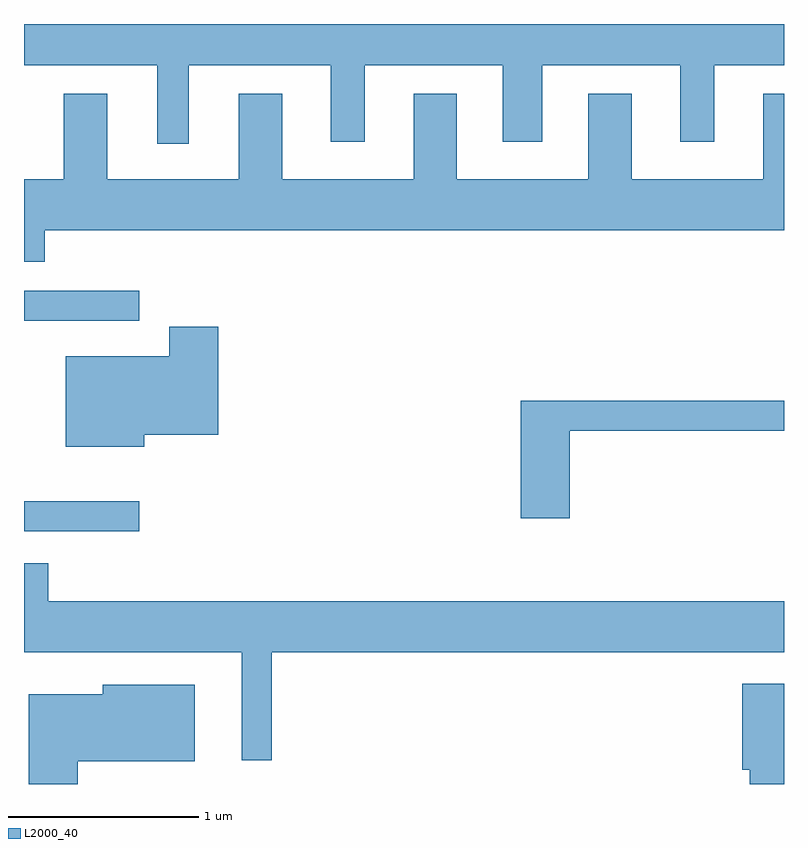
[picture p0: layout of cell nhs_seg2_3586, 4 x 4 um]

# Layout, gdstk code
import gdstk
lib = gdstk.Library(unit=1e-6, precision=1e-09)
def R(c, l, rs):  # rectangles x0, y0, x1, y1
    for r in rs: c.add(gdstk.rectangle(r[:2], r[2:], *l))
def P(c, l, *ps):  # polygons
    for p in ps: c.add(gdstk.Polygon(p, *l))
L2000_40 = (2000, 40)

nhs_seg2_3586 = lib.new_cell('nhs_seg2_3586')
R(nhs_seg2_3586, L2000_40, [(289.611,1091.131,290.218,1091.289), (289.611,1092.241,290.218,1092.399)])
P(nhs_seg2_3586, L2000_40, [(290.479,1093.586),(291.226,1093.586),(291.226,1093.181),(291.404,1093.181),(291.404,1093.586),(292.131,1093.586),(292.131,1093.181),(292.339,1093.181),(292.339,1093.586),(293.066,1093.586),(293.066,1093.181),(293.244,1093.181),(293.244,1093.586),(293.611,1093.586),(293.611,1093.802),(289.611,1093.802),(289.611,1093.586),(290.311,1093.586),(290.311,1093.173),(290.479,1093.173)],
  [(289.719,1092.716),(293.611,1092.716),(293.611,1093.434),(293.501,1093.434),(293.501,1092.984),(292.809,1092.984),(292.809,1093.434),(292.581,1093.434),(292.581,1092.984),(291.889,1092.984),(291.889,1093.434),(291.661,1093.434),(291.661,1092.984),(290.969,1092.984),(290.969,1093.434),(290.741,1093.434),(290.741,1092.984),(290.049,1092.984),(290.049,1093.434),(289.821,1093.434),(289.821,1092.984),(289.611,1092.984),(289.611,1092.551),(289.719,1092.551)],
  [(290.244,1091.641),(290.634,1091.641),(290.634,1092.209),(290.376,1092.209),(290.376,1092.054),(289.831,1092.054),(289.831,1091.576),(290.244,1091.576)],
  [(292.484,1091.661),(293.611,1091.661),(293.611,1091.819),(292.226,1091.819),(292.226,1091.201),(292.484,1091.201)],
  [(290.914,1090.496),(293.611,1090.496),(293.611,1090.764),(289.739,1090.764),(289.739,1090.964),(289.611,1090.964),(289.611,1090.496),(290.756,1090.496),(290.756,1089.928),(290.914,1089.928)],
  [(293.611,1090.329),(293.391,1090.329),(293.391,1089.876),(293.431,1089.876),(293.431,1089.802),(293.611,1089.802)],
  [(289.894,1089.921),(290.509,1089.921),(290.509,1090.324),(290.026,1090.324),(290.026,1090.274),(289.636,1090.274),(289.636,1089.802),(289.894,1089.802)])

lib.write_gds('nhs_seg2_3586.gds')
